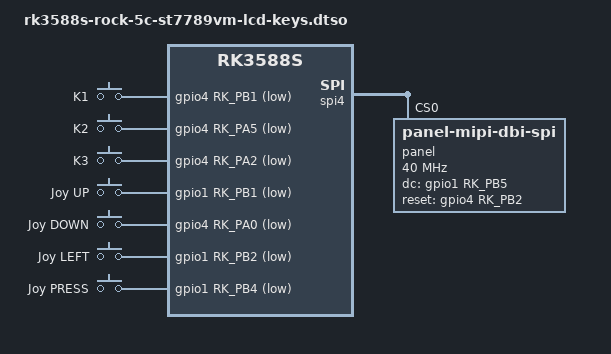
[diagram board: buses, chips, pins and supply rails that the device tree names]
// SPDX-License-Identifier: GPL-2.0
/*
 * Bind Waveshare 1.3" LCD HAT (ST7789VM, 240x240) on Rock 5C Lite via
 * RPi-compatible 40-pin GPIO header. Three subsystems:
 *
 *   1. SPI4 (Function7 mux on header pins 19/21/23/24, "SPI4_M2"):
 *      MOSI = pin 19 / GPIO1_A1
 *      MISO = pin 21 / GPIO1_A0
 *      CLK  = pin 23 / GPIO1_A2
 *      CS0  = pin 24 / GPIO1_A3   (hardware CS, no cs-gpios needed)
 *
 *   2. ST7789VM panel via mainline drm/tiny panel-mipi-dbi-spi (linux v5.18+,
 *      rkr5.1 6.1 in-tree). Init seq loaded from
 *      /lib/firmware/panel-mipi-dbi-spi.bin (driver derives filename from
 *      compatible[0]; firmware-name DT property is NOT consulted).
 *      DC  = pin 22 / GPIO1_B5
 *      RST = pin 13 / GPIO4_B2
 *
 *      RST GPIO MUST be declared GPIO_ACTIVE_HIGH (even though ST7789 reset
 *      is physically low-active): mipi_dbi_hw_reset() uses gpiod_set_value()
 *      with "1 = released, 0 = asserted" direct-write semantics. Declaring
 *      ACTIVE_LOW makes gpiolib invert the final set(1) into a physical LOW
 *      and the panel stalls in reset forever.
 *
 *   3. 7 GPIO buttons via gpio-keys:
 *      K1 = pin 40 / GPIO4_B1  → KEY_F1
 *      K2 = pin 38 / GPIO4_A5  → KEY_F2
 *      K3 = pin 36 / GPIO4_A2  → KEY_F3
 *      Joy UP    = pin 31 / GPIO1_B1 → KEY_UP
 *      Joy DOWN  = pin 35 / GPIO4_A0 → KEY_DOWN
 *      Joy LEFT  = pin 29 / GPIO1_B2 → KEY_LEFT
 *      Joy PRESS = pin 33 / GPIO1_B4 → KEY_ENTER
 *
 *      All keys are external-pulldown-via-button-to-GND; pinctrl declares
 *      pcfg_pull_up because the HAT has no external pull resistors.
 *
 *      Joy RIGHT (BCM26 → header pin 37) is intentionally absent: pin 37 on
 *      Rock 5C Lite is SARADC_VIN2, with no GPIO mux available — physically
 *      unusable as a digital input.
 *
 *   Backlight (BLK / pin 18 / GPIO1_B0) is intentionally NOT managed in this
 *   overlay: no PWM mux available on this pin, and the schematic R2=10K
 *   pull-up to 3.3V on Q1's base means the BL defaults to ON when BLK is
 *   floating. Leaving GPIO1_B0 at default mux state preserves this behavior.
 */

/dts-v1/;
/plugin/;

#include <dt-bindings/gpio/gpio.h>
#include <dt-bindings/input/input.h>
#include <dt-bindings/pinctrl/rockchip.h>

/ {
	compatible = "rockchip,rk3588s";

	metadata {
		title = "Enable Waveshare 1.3\" LCD HAT (ST7789VM 240x240) + 7 keys on Rock 5C Lite";
		compatible = "radxa,rock-5c-lite";
		category = "display";
		exclusive = "spi4",
			    "GPIO1_A0", "GPIO1_A1", "GPIO1_A2", "GPIO1_A3",
			    "GPIO1_B5", "GPIO4_B2",
			    "GPIO4_B1", "GPIO4_A5", "GPIO4_A2",
			    "GPIO1_B1", "GPIO4_A0", "GPIO1_B2", "GPIO1_B4";
		description = "Bind Waveshare 1.3\" LCD HAT (ST7789VM) on SPI4_M2 with hardware CS; 7 GPIO keys via gpio-keys (KEY_F1..F3 + arrow keys + ENTER). BL (pin 18 = GPIO1_B0) intentionally not managed (no PWM mux; default ON via 10K pull-up on Q1 base). Joy RIGHT (pin 37 = SARADC_VIN2) intentionally absent (no GPIO mux). Init seq from /lib/firmware/panel-mipi-dbi-spi.bin.";
	};

	fragment@0 {
		target = <&spi4>;

		__overlay__ {
			status = "okay";
			pinctrl-names = "default";
			pinctrl-0 = <&spi4m2_cs0 &spi4m2_pins>;
			#address-cells = <1>;
			#size-cells = <0>;

			panel@0 {
				compatible = "panel-mipi-dbi-spi";
				reg = <0>;
				spi-max-frequency = <40000000>;
				dc-gpios    = <&gpio1 RK_PB5 GPIO_ACTIVE_HIGH>;
				reset-gpios = <&gpio4 RK_PB2 GPIO_ACTIVE_HIGH>;
				write-only;
				width-mm  = <23>;
				height-mm = <23>;
				status = "okay";

				panel-timing {
					hactive = <240>;
					vactive = <240>;
					hback-porch  = <0>;
					vback-porch  = <0>;
					hfront-porch = <0>;
					vfront-porch = <0>;
					hsync-len = <0>;
					vsync-len = <0>;
					/* binding requires this; driver does not use pixel clock */
					clock-frequency = <3456000>;
				};
			};
		};
	};

	fragment@1 {
		target-path = "/";

		__overlay__ {
			keys-st7789vm-hat {
				compatible = "gpio-keys";
				pinctrl-names = "default";
				pinctrl-0 = <&keys_st7789vm_pins>;
				autorepeat;

				key-k1 {
					label = "K1";
					linux,code = <KEY_F1>;
					gpios = <&gpio4 RK_PB1 GPIO_ACTIVE_LOW>;
					debounce-interval = <20>;
				};
				key-k2 {
					label = "K2";
					linux,code = <KEY_F2>;
					gpios = <&gpio4 RK_PA5 GPIO_ACTIVE_LOW>;
					debounce-interval = <20>;
				};
				key-k3 {
					label = "K3";
					linux,code = <KEY_F3>;
					gpios = <&gpio4 RK_PA2 GPIO_ACTIVE_LOW>;
					debounce-interval = <20>;
				};
				key-up {
					label = "Joy UP";
					linux,code = <KEY_UP>;
					gpios = <&gpio1 RK_PB1 GPIO_ACTIVE_LOW>;
					debounce-interval = <20>;
				};
				key-down {
					label = "Joy DOWN";
					linux,code = <KEY_DOWN>;
					gpios = <&gpio4 RK_PA0 GPIO_ACTIVE_LOW>;
					debounce-interval = <20>;
				};
				key-left {
					label = "Joy LEFT";
					linux,code = <KEY_LEFT>;
					gpios = <&gpio1 RK_PB2 GPIO_ACTIVE_LOW>;
					debounce-interval = <20>;
				};
				key-press {
					label = "Joy PRESS";
					linux,code = <KEY_ENTER>;
					gpios = <&gpio1 RK_PB4 GPIO_ACTIVE_LOW>;
					debounce-interval = <20>;
				};

				/*
				 * Joy RIGHT (HAT BCM26 → header pin 37) maps to SARADC_VIN2
				 * on Rock 5C Lite — no GPIO mux exists for this pin. Cannot
				 * be wired as digital input. Intentionally absent.
				 */
			};
		};
	};

	fragment@2 {
		target = <&pinctrl>;

		__overlay__ {
			keys-st7789vm-hat {
				keys_st7789vm_pins: keys-st7789vm-pins {
					rockchip,pins =
						<4 RK_PB1 RK_FUNC_GPIO &pcfg_pull_up>,   /* K1 */
						<4 RK_PA5 RK_FUNC_GPIO &pcfg_pull_up>,   /* K2 */
						<4 RK_PA2 RK_FUNC_GPIO &pcfg_pull_up>,   /* K3 */
						<1 RK_PB1 RK_FUNC_GPIO &pcfg_pull_up>,   /* Joy UP */
						<4 RK_PA0 RK_FUNC_GPIO &pcfg_pull_up>,   /* Joy DOWN */
						<1 RK_PB2 RK_FUNC_GPIO &pcfg_pull_up>,   /* Joy LEFT */
						<1 RK_PB4 RK_FUNC_GPIO &pcfg_pull_up>;   /* Joy PRESS */
				};
			};
		};
	};
};
